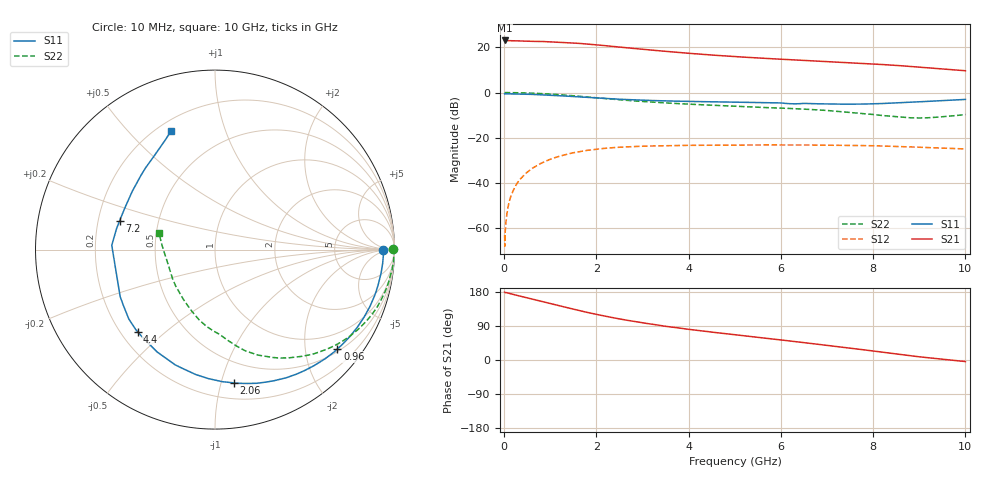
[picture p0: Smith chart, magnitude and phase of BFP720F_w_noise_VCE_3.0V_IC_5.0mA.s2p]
! Infineon Technologies  Discrete & RF Semiconductors
! BFP720F
! VCE =  3.0 V,  IC =  5.0 mA
! Common Emitter S-Parameters:  Jan 2016
# GHz  S  MA  R  50
!  f  S11  S21  S12  S22
! GHz  MAG  ANG  MAG  ANG  MAG  ANG  MAG  ANG
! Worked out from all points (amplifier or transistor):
!   233 points, 10 MHz to 10 GHz, reference 50 ohm
!   highest |S21| = 23.1 dB at 10 MHz (marker M1)
!   |S21| within 3 dB of that: start of sweep to 2.542 GHz
!   unconditionally stable (mu >= 1): 7.797 GHz to end of sweep
!   at 200 MHz: K = 0.04, MSG = 33.1 dB, |S12| = -43.2 dB
!   at 1.74 GHz: K = 0.21, MSG = 23.7 dB, |S12| = -25.8 dB
!   at 10 GHz: K = 1.28, MAG = 14.1 dB, |S12| = -24.9 dB
!   lowest NFmin = 0.41 dB at 450 MHz
!   S11 on the Smith chart (normalised r, x): 10 MHz: 29, -1; 960 MHz: 0.56, -2.71; 2.06 GHz: 0.32, -1.10; 4.4 GHz: 0.27, -0.40; 7.2 GHz: 0.29, +0.13; 10 GHz: 0.25, +0.67
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0.01  0.9336 -0.1  14.21 179.2  0.0007 -31.8  0.9901 0.1
0.015  0.9366 -0.4  14.08 178.4  0.0004 23.0  0.9949 -0.6
0.02  0.9397 -0.7  13.96 177.5  0.0007 77.9  0.9999 -1.2
0.05  0.9387 -2.0  14.09 177.8  0.0017 87.1  0.9967 -1.4
0.085  0.9382 -3.4  14.08 176.7  0.003 86.6  0.9969 -2.3
0.26  0.931 -10.5  13.93 171.1  0.0091 83.4  0.9921 -7.0
0.8  0.8948 -32.6  13.53 154.8  0.0272 69.3  0.9506 -21.5
0.96  0.8783 -39.1  13.3 150.0  0.0322 65.1  0.9309 -25.7
1.3  0.8406 -52.9  12.75 140.0  0.0417 56.6  0.8822 -34.5
1.68  0.7932 -68.2  12.11 129.0  0.0503 47.5  0.8189 -43.8
2.06  0.7499 -81.9  11.22 118.9  0.0567 39.2  0.7566 -52.1
2.4  0.7198 -92.9  10.39 110.7  0.0609 32.7  0.7067 -58.8
2.78  0.691 -103.4  9.523 102.4  0.0637 26.6  0.6573 -64.7
3.4  0.6583 -117.3  8.331 90.9  0.0666 18.6  0.5985 -72.1
4  0.6373 -127.8  7.391 80.9  0.068 12.4  0.5535 -77.1
4.4  0.6284 -133.4  6.88 75.2  0.0685 9.1  0.5304 -79.6
5.1  0.6129 -142.3  6.163 65.3  0.0692 3.8  0.4929 -84.2
6.8  0.5645 171.7  4.976 41.5  0.0689 -7.3  0.4127 -100.0
7.2  0.5551 163.3  4.737 35.7  0.0683 -9.7  0.3858 -105.9
8.4  0.5845 134.8  4.052 17.5  0.0649 -16.8  0.2988 -137.1
9  0.6255 122.3  3.651 8.4  0.0616 -19.4  0.2739 -163.9
10  0.7053 110.3  3.039 -4.1  0.0566 -21.2  0.3265 163.4
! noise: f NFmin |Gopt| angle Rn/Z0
0.45  0.41  0.49  4  0.15
0.9  0.44  0.48  9  0.17
1.8  0.5  0.44  20  0.17
2.4  0.54  0.41  29  0.14
5.5  0.72  0.37  68  0.1
10  1  0.25  -109  0.15
